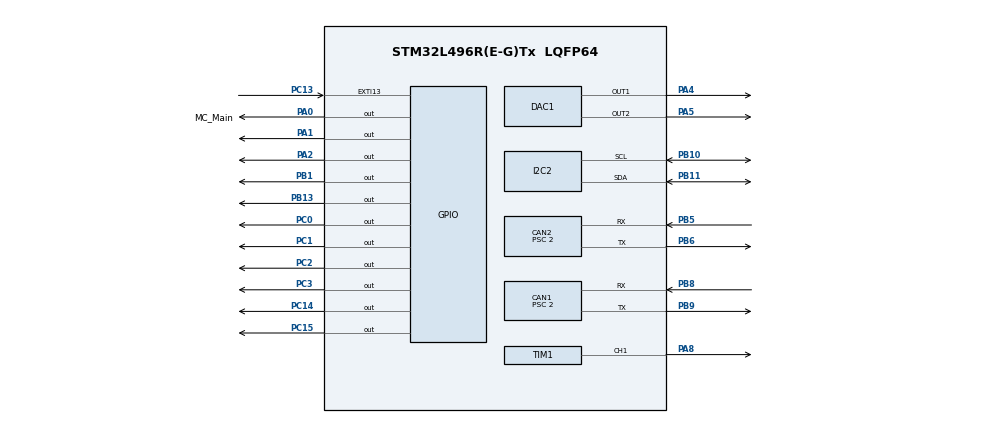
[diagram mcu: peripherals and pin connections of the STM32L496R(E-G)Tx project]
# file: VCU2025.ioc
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CAN1.BS1=CAN_BS1_2TQ
CAN1.CalculateBaudRate=500000
CAN1.CalculateTimeBit=2000
CAN1.CalculateTimeQuantum=500.0
CAN1.Prescaler=2
CAN2.BS1=CAN_BS1_2TQ
CAN2.CalculateBaudRate=500000
CAN2.CalculateTimeBit=2000
CAN2.CalculateTimeQuantum=500.0
CAN2.Prescaler=2
DAC1.DAC_Channel-DAC_OUT2=DAC_CHANNEL_2
FREERTOS.Tasks01=HeartBeat,24,128,Heart_Beat,Default,NULL,Dynamic,NULL,NULL;UpdateThrottle,32,128,Update_Throttle,Default,NULL,Dynamic,NULL,NULL;LightsControl,24,128,Lights_Control,Default,NULL,Dynamic,NULL,NULL;ReadSensors,24,128,Read_Sensors,Default,NULL,Dynamic,NULL,NULL
FREERTOS.configUSE_NEWLIB_REENTRANT=1
I2C2.Timing=0x00100D14
Mcu.Family=STM32L4
Mcu.Name=STM32L496R(E-G)Tx
Mcu.Package=LQFP64
NVIC.CAN1_RX0_IRQn=true\:5\:0\:false\:false\:true\:true\:true\:true\:true
NVIC.CAN2_RX0_IRQn=true\:5\:0\:false\:false\:true\:true\:true\:true\:true
NVIC.EXTI15_10_IRQn=true\:5\:0\:false\:false\:true\:true\:true\:true\:true
NVIC.PriorityGroup=NVIC_PRIORITYGROUP_4
NVIC.TIM6_DAC_IRQn=true\:15\:0\:false\:false\:true\:false\:false\:true\:true
NVIC.TimeBase=TIM6_DAC_IRQn
NVIC.TimeBaseIP=TIM6
PA0.GPIO_Label=MC_Main
PA0.Signal=GPIO_Output
PA1.Signal=GPIO_Output
PA13\ (JTMS/SWDIO).Mode=Serial_Wire
PA13\ (JTMS/SWDIO).Signal=SYS_JTMS-SWDIO
PA14\ (JTCK/SWCLK).Mode=Serial_Wire
PA14\ (JTCK/SWCLK).Signal=SYS_JTCK-SWCLK
PA2.Signal=GPIO_Output
PA4.Signal=COMP_DAC11_group
PA5.Signal=COMP_DAC12_group
PA8.Signal=S_TIM1_CH1
PB1.Signal=GPIO_Output
PB10.Mode=I2C
PB10.Signal=I2C2_SCL
PB11.Mode=I2C
PB11.Signal=I2C2_SDA
PB13.Signal=GPIO_Output
PB5.GPIO_PuPd=GPIO_PULLUP
PB5.Mode=CAN_Activate
PB5.Signal=CAN2_RX
PB6.Mode=CAN_Activate
PB6.Signal=CAN2_TX
PB8.GPIO_PuPd=GPIO_PULLUP
PB8.Mode=CAN_Activate
PB8.Signal=CAN1_RX
PB9.Mode=CAN_Activate
PB9.Signal=CAN1_TX
PC0.Signal=GPIO_Output
PC1.Signal=GPIO_Output
PC13.GPIO_ModeDefaultEXTI=GPIO_MODE_IT_RISING_FALLING
PC13.Signal=GPXTI13
PC14-OSC32_IN\ (PC14).Signal=GPIO_Output
PC15-OSC32_OUT\ (PC15).Signal=GPIO_Output
PC2.Signal=GPIO_Output
PC3.Signal=GPIO_Output
ProjectManager.HeapSize=0x200
ProjectManager.StackSize=0x400
ProjectManager.TargetToolchain=STM32CubeIDE
RCC.HSE_VALUE=8000000
RCC.HSI48_VALUE=48000000
RCC.HSI_VALUE=16000000
RCC.LSE_VALUE=32768
RCC.MSI_VALUE=4000000
RCC.VCOOutputFreq_Value=32000000
SH.COMP_DAC11_group.0=DAC1_OUT1,DAC_OUT1
SH.COMP_DAC12_group.0=DAC1_OUT2,DAC_OUT2
SH.S_TIM1_CH1.0=TIM1_CH1,Output Compare1 CH1
TIM1.Channel-Output\ Compare1\ CH1=TIM_CHANNEL_1
TIM1.Pulse-Output\ Compare1\ CH1=100
VP_FREERTOS_VS_CMSIS_V2.Mode=CMSIS_V2
VP_SYS_VS_tim6.Mode=TIM6
board=custom

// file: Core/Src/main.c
/* USER CODE BEGIN Header */
/**
  ******************************************************************************
  * @file           : main.c
  * @brief          : Main program body
  ******************************************************************************
  * @attention
  *
  * Copyright (c) 2025 STMicroelectronics.
  * All rights reserved.
  *
  * This software is licensed under terms that can be found in the LICENSE file
  * in the root directory of this software component.
  * If no LICENSE file comes with this software, it is provided AS-IS.
  *
  ******************************************************************************
  */
/* USER CODE END Header */
#include "main.h"
#include "cmsis_os.h"

/* USER CODE BEGIN Includes */
#include "stdbool.h"
#include "INA226.h"
/* USER CODE END Includes */

CAN_HandleTypeDef hcan1;
CAN_HandleTypeDef hcan2;

DAC_HandleTypeDef hdac1;

I2C_HandleTypeDef hi2c2;

TIM_HandleTypeDef htim1;

/* Definitions for HeartBeat */
osThreadId_t HeartBeatHandle;
const osThreadAttr_t HeartBeat_attributes = {
  .name = "HeartBeat",
  .stack_size = 128 * 4,
  .priority = (osPriority_t) osPriorityNormal,
};
/* Definitions for UpdateThrottle */
osThreadId_t UpdateThrottleHandle;
const osThreadAttr_t UpdateThrottle_attributes = {
  .name = "UpdateThrottle",
  .stack_size = 128 * 4,
  .priority = (osPriority_t) osPriorityAboveNormal,
};
/* Definitions for LightsControl */
osThreadId_t LightsControlHandle;
const osThreadAttr_t LightsControl_attributes = {
  .name = "LightsControl",
  .stack_size = 128 * 4,
  .priority = (osPriority_t) osPriorityNormal,
};
/* Definitions for ReadSensors */
osThreadId_t ReadSensorsHandle;
const osThreadAttr_t ReadSensors_attributes = {
  .name = "ReadSensors",
  .stack_size = 128 * 4,
  .priority = (osPriority_t) osPriorityNormal,
};

void SystemClock_Config(void);
static void MX_GPIO_Init(void);
static void MX_DAC1_Init(void);
static void MX_CAN1_Init(void);
static void MX_CAN2_Init(void);
static void MX_TIM1_Init(void);
static void MX_I2C2_Init(void);
void Heart_Beat(void *argument);
void Update_Throttle(void *argument);
void Lights_Control(void *argument);
void Read_Sensors(void *argument);

/* USER CODE BEGIN 0 */
//DAC outputs
uint16_t throttle = 0;
uint16_t regen = 0;
uint8_t regen_enable = 0;
uint32_t last_throttle_recieved_tick = 0;
//MC GPIO outputs
bool brakes_active;
bool blinkers_active;
bool left_turn_active;
bool right_turn_active;
bool ignition_switch;

bool direction;
bool mc_main_ctrl;
bool array;
bool old_array;
bool kill_switch;
bool start_array_process = false;
bool array_precharge_contactor_en = false; // port c2
bool array_contactor_en = false; // port c3
uint32_t precharge_start_tick = 0;
bool mc_pwreco_ctrl;

int signal_counter;

GPIO_PinState mc_fwdrev_ctrl;
GPIO_PinState rc_light_en;
GPIO_PinState rr_light_en;
GPIO_PinState rl_light_en;
GPIO_PinState fan_en;
GPIO_PinState horn_en;
GPIO_PinState mppt_contactor_en;
GPIO_PinState mppt_pre_contactor_en;
GPIO_PinState imu_int;

//turn signal and strobe
uint8_t rl_turn;
uint8_t rr_turn;
uint8_t strb_light_en;

//current sensor
uint8_t currentSenseAddress = 0x44;
uint8_t imuAddress = 0x68;
float power;
uint16_t powerInteger;
uint8_t powerLSB;
uint8_t powerMSB;
uint8_t test_once = 1;

//IMU
//uint8_t imuAddress = 0x68;
uint16_t accelInteger;
uint8_t acceLSB;
uint8_t accelMSB;
uint16_t velocityInteger;
uint8_t velocityLSB;
uint8_t velocityMSB;

union FloatBytes {
    float f;
    uint8_t bytes[4];
} floatBytes;

uint8_t datacheck = 0;

int HAL_CAN_BUSY = 0;
uint64_t messages_sent = 0;

CAN_TxHeaderTypeDef TxHeader_status = { 0 };
uint8_t TxData_status[8] = { 0 };
uint32_t TxMailbox_status = { 0 };

uint32_t last_strobe_toggle_tick = 0;
uint8_t strobe = 0;

uint8_t kill_int = 0;

//CAN tranmission with kill_switch
void HAL_GPIO_EXTI_Callback(uint16_t GPIO_PIN)
{
	if (GPIO_PIN == GPIO_PIN_13) {
		//OR current byte 1 to show enable the kill switch
		kill_int = 1;

    }

//		while(!HAL_CAN_GetTxMailboxesFreeLevel(&hcan1));
//		HAL_StatusTypeDef status;
//		status = HAL_CAN_AddTxMessage(&hcan1, &TxHeader_status, TxData_status, &TxMailbox_status);
//		messages_sent++;
//		if (status == HAL_ERROR){
//			Error_Handler();
//		}
//		else if(status == HAL_BUSY){
//			HAL_CAN_BUSY++;
//		}

}

// Can reception
void HAL_CAN_RxFifo0MsgPendingCallback(CAN_HandleTypeDef *hcan1)
{
  uint8_t RxData[8] = { 0 };  // Array to store the received data
  CAN_RxHeaderTypeDef RxHeader;
  if (HAL_CAN_GetRxMessage(hcan1, CAN_RX_FIFO0, &RxHeader, RxData) != HAL_OK)
  {
    Error_Handler();
  }
  if (RxHeader.StdId == 0x000 && RxHeader.IDE == CAN_ID_STD)
  {
	  if (RxData[0] == 0) {
      last_throttle_recieved_tick = HAL_GetTick();
		  throttle = (uint16_t)RxData[2]<<8 | RxData[1];
	  }
  }

  if (RxHeader.StdId == 0x06 && RxHeader.IDE == CAN_ID_STD) {
	  if (RxData[0] != 0) {
		  kill_switch = true;
		  strobe = 1;
		  if (!test_once) {
			  last_strobe_toggle_tick = HAL_GetTick();
			  HAL_GPIO_WritePin(GPIOC, GPIO_PIN_15, SET);
			  test_once = true;
		  }
	  }
  }
  if (RxHeader.StdId == 0x7FF && RxHeader.IDE == CAN_ID_STD) {
	  if(RxData[0] == 1){
		  //byte 1
		  //ignition switch
		  if((RxData[1] & 0x01) != 0x00){
			  ignition_switch = true;
		  }
		  else{
			  ignition_switch = false;
		  }

		  if((RxData[1] & 0x02) != 0x00){
			  brakes_active = true; // turn brakes on
		  }else{
			  brakes_active = false; // turn breaks off
		  }

		  if((RxData[1] & 0x20) != 0x00){
			  direction = true; //Forward
		  }else{
			  direction = false; // Reverse
		  }

		  if((RxData[1] & 0x10) != 0x00){
			  mc_main_ctrl = true;
		  }else{
			  mc_main_ctrl = false;
		  }

		  if((RxData[1] & 0x04) != 0x00){
			  array = true;
        if (array != old_array) {
          start_array_process = true;
        }
		  }else{
			  array = false;
        if (array != old_array) {
          start_array_process = true;
        }
		  }
      old_array = array;

		  //byte #2
		  if((RxData[2] & 0x01) != 0x00){
			  if (blinkers_active != true) {
				  blinkers_active = true;
				  signal_counter = 0;
			  }
			  blinkers_active = true; // turn brakes on

		  }else{
			  blinkers_active = false;
		  }

		  if((RxData[2] & 0x02) != 0x00){
			  if (left_turn_active != true) {
				  left_turn_active = true;
				  signal_counter = 0;
			  }
			  left_turn_active = true; // turn brakes on

		  }else{
			  left_turn_active = false; // turn brakes off
		  }

		  if((RxData[2] & 0x04) != 0x00){
			  if(right_turn_active != true){
				  right_turn_active = true; // Turn on right
				  left_turn_active = false; //Turn off left
				  signal_counter = 0;
			  }
			  right_turn_active = true;
		  }else{
			  right_turn_active = false;
		  }

      if((RxData[2] & 0x10) != 0x00){
        regen_enable = 1;
      }
      else{
        regen_enable = 0;
      }

	  }
  }
}

INA226_t INA226_IVP;

/* USER CODE END 0 */

int main(void)
{

  /* USER CODE BEGIN 1 */

  brakes_active = false;
  blinkers_active = false;
  left_turn_active = false;
  right_turn_active = true;

  direction = false;
  mc_pwreco_ctrl = false;
  mc_main_ctrl = false;
  array = false;

  /* USER CODE END 1 */

  /* MCU Configuration--------------------------------------------------------*/

  /* Reset of all peripherals, Initializes the Flash interface and the Systick. */
  HAL_Init();

  /* Configure the system clock */
  SystemClock_Config();

  /* Initialize all configured peripherals */
  MX_GPIO_Init();
  MX_DAC1_Init();
  MX_CAN1_Init();
  MX_CAN2_Init();
  MX_TIM1_Init();
  MX_I2C2_Init();
  /* USER CODE BEGIN 2 */
  HAL_CAN_Start(&hcan1);

  //intalize can RX interupt
  if (HAL_CAN_ActivateNotification(&hcan1, CAN_IT_RX_FIFO0_MSG_PENDING) != HAL_OK)
  {
	  Error_Handler();
  }

  TxHeader_status.IDE = CAN_ID_STD; // Standard ID (not extended)
  TxHeader_status.StdId = 0x02; // 11 bit Identifier
  TxData_status[0] = 0x02; // 0x02 is the ID for the status message
  TxHeader_status.RTR = CAN_RTR_DATA; // Std RTR Data frame
  TxHeader_status.DLC = 8; // 8 bytes being transmitted

  if(INA226_Initialize(&INA226_IVP, &hi2c2, 10, 20) != HAL_OK){ Error_Handler();}
  HAL_GPIO_WritePin(GPIOC, GPIO_PIN_2, RESET);
  HAL_GPIO_WritePin(GPIOC, GPIO_PIN_3, RESET);

  if (HAL_GPIO_ReadPin(GPIOC, GPIO_PIN_13) == GPIO_PIN_RESET) {
    kill_switch = true;
    strobe = 1;
    last_strobe_toggle_tick = HAL_GetTick();
    HAL_GPIO_WritePin(GPIOC, GPIO_PIN_15, SET); // Turn on kill switch LED
  }
  else {
    kill_switch = false;
    strobe = false;
    HAL_GPIO_WritePin(GPIOC, GPIO_PIN_15, RESET); // Turn off kill switch LED
  }

  /* USER CODE END 2 */

  /* Init scheduler */
  osKernelInitialize();

  /* Create the thread(s) */
  /* creation of HeartBeat */
  HeartBeatHandle = osThreadNew(Heart_Beat, NULL, &HeartBeat_attributes);

  /* creation of UpdateThrottle */
  UpdateThrottleHandle = osThreadNew(Update_Throttle, NULL, &UpdateThrottle_attributes);

  /* creation of LightsControl */
  LightsControlHandle = osThreadNew(Lights_Control, NULL, &LightsControl_attributes);

  /* creation of ReadSensors */
  ReadSensorsHandle = osThreadNew(Read_Sensors, NULL, &ReadSensors_attributes);

  /* Start scheduler */
  osKernelStart();

  /* We should never get here as control is now taken by the scheduler */

  /* Infinite loop */
  while (1)
  {

  }
}

void SystemClock_Config(void)
{
  RCC_OscInitTypeDef RCC_OscInitStruct = {0};
  RCC_ClkInitTypeDef RCC_ClkInitStruct = {0};

  /** Configure the main internal regulator output voltage
  */
  if (HAL_PWREx_ControlVoltageScaling(PWR_REGULATOR_VOLTAGE_SCALE1) != HAL_OK)
  {
    Error_Handler();
  }

  /** Initializes the RCC Oscillators according to the specified parameters
  * in the RCC_OscInitTypeDef structure.
  */
  RCC_OscInitStruct.OscillatorType = RCC_OSCILLATORTYPE_MSI;
  RCC_OscInitStruct.MSIState = RCC_MSI_ON;
  RCC_OscInitStruct.MSICalibrationValue = 0;
  RCC_OscInitStruct.MSIClockRange = RCC_MSIRANGE_6;
  RCC_OscInitStruct.PLL.PLLState = RCC_PLL_NONE;
  if (HAL_RCC_OscConfig(&RCC_OscInitStruct) != HAL_OK)
  {
    Error_Handler();
  }

  /** Initializes the CPU, AHB and APB buses clocks
  */
  RCC_ClkInitStruct.ClockType = RCC_CLOCKTYPE_HCLK|RCC_CLOCKTYPE_SYSCLK
                              |RCC_CLOCKTYPE_PCLK1|RCC_CLOCKTYPE_PCLK2;
  RCC_ClkInitStruct.SYSCLKSource = RCC_SYSCLKSOURCE_MSI;
  RCC_ClkInitStruct.AHBCLKDivider = RCC_SYSCLK_DIV1;
  RCC_ClkInitStruct.APB1CLKDivider = RCC_HCLK_DIV1;
  RCC_ClkInitStruct.APB2CLKDivider = RCC_HCLK_DIV1;

  if (HAL_RCC_ClockConfig(&RCC_ClkInitStruct, FLASH_LATENCY_0) != HAL_OK)
  {
    Error_Handler();
  }
}

static void MX_CAN1_Init(void)
{

  hcan1.Instance = CAN1;
  hcan1.Init.Prescaler = 2;
  hcan1.Init.Mode = CAN_MODE_NORMAL;
  hcan1.Init.SyncJumpWidth = CAN_SJW_1TQ;
  hcan1.Init.TimeSeg1 = CAN_BS1_2TQ;
  hcan1.Init.TimeSeg2 = CAN_BS2_1TQ;
  hcan1.Init.TimeTriggeredMode = DISABLE;
  hcan1.Init.AutoBusOff = DISABLE;
  hcan1.Init.AutoWakeUp = DISABLE;
  hcan1.Init.AutoRetransmission = DISABLE;
  hcan1.Init.ReceiveFifoLocked = DISABLE;
  hcan1.Init.TransmitFifoPriority = DISABLE;
  if (HAL_CAN_Init(&hcan1) != HAL_OK)
  {
    Error_Handler();
  }
  /* USER CODE BEGIN CAN1_Init 2 */
  CAN_FilterTypeDef canfilterconfig;

	canfilterconfig.FilterActivation = CAN_FILTER_ENABLE;
	canfilterconfig.FilterBank = 18;  // which filter bank to use from the assigned ones
	canfilterconfig.FilterFIFOAssignment = CAN_FILTER_FIFO0;
	canfilterconfig.FilterIdHigh = 0x000<<5;
	canfilterconfig.FilterIdLow = 0;
	canfilterconfig.FilterMaskIdHigh = 0x000<<5;
	canfilterconfig.FilterMaskIdLow = 0x0000;
	canfilterconfig.FilterMode = CAN_FILTERMODE_IDMASK;
	canfilterconfig.FilterScale = CAN_FILTERSCALE_32BIT;
	canfilterconfig.SlaveStartFilterBank = 20;  // how many filters to assign to the CAN1 (master can)

	HAL_CAN_ConfigFilter(&hcan1, &canfilterconfig);
  /* USER CODE END CAN1_Init 2 */

}

static void MX_CAN2_Init(void)
{

  hcan2.Instance = CAN2;
  hcan2.Init.Prescaler = 2;
  hcan2.Init.Mode = CAN_MODE_NORMAL;
  hcan2.Init.SyncJumpWidth = CAN_SJW_1TQ;
  hcan2.Init.TimeSeg1 = CAN_BS1_2TQ;
  hcan2.Init.TimeSeg2 = CAN_BS2_1TQ;
  hcan2.Init.TimeTriggeredMode = DISABLE;
  hcan2.Init.AutoBusOff = DISABLE;
  hcan2.Init.AutoWakeUp = DISABLE;
  hcan2.Init.AutoRetransmission = DISABLE;
  hcan2.Init.ReceiveFifoLocked = DISABLE;
  hcan2.Init.TransmitFifoPriority = DISABLE;
  if (HAL_CAN_Init(&hcan2) != HAL_OK)
  {
    Error_Handler();
  }

}

static void MX_DAC1_Init(void)
{

  DAC_ChannelConfTypeDef sConfig = {0};

  /** DAC Initialization
  */
  hdac1.Instance = DAC1;
  if (HAL_DAC_Init(&hdac1) != HAL_OK)
  {
    Error_Handler();
  }

  /** DAC channel OUT1 config
  */
  sConfig.DAC_SampleAndHold = DAC_SAMPLEANDHOLD_DISABLE;
  sConfig.DAC_Trigger = DAC_TRIGGER_NONE;
  sConfig.DAC_OutputBuffer = DAC_OUTPUTBUFFER_ENABLE;
  sConfig.DAC_ConnectOnChipPeripheral = DAC_CHIPCONNECT_DISABLE;
  sConfig.DAC_UserTrimming = DAC_TRIMMING_FACTORY;
  if (HAL_DAC_ConfigChannel(&hdac1, &sConfig, DAC_CHANNEL_1) != HAL_OK)
  {
    Error_Handler();
  }

  /** DAC channel OUT2 config
  */
  if (HAL_DAC_ConfigChannel(&hdac1, &sConfig, DAC_CHANNEL_2) != HAL_OK)
  {
    Error_Handler();
  }

}

static void MX_I2C2_Init(void)
{

  hi2c2.Instance = I2C2;
  hi2c2.Init.Timing = 0x00100D14;
  hi2c2.Init.OwnAddress1 = 0;
  hi2c2.Init.AddressingMode = I2C_ADDRESSINGMODE_7BIT;
  hi2c2.Init.DualAddressMode = I2C_DUALADDRESS_DISABLE;
  hi2c2.Init.OwnAddress2 = 0;
  hi2c2.Init.OwnAddress2Masks = I2C_OA2_NOMASK;
  hi2c2.Init.GeneralCallMode = I2C_GENERALCALL_DISABLE;
  hi2c2.Init.NoStretchMode = I2C_NOSTRETCH_DISABLE;
  if (HAL_I2C_Init(&hi2c2) != HAL_OK)
  {
    Error_Handler();
  }

  /** Configure Analogue filter
  */
  if (HAL_I2CEx_ConfigAnalogFilter(&hi2c2, I2C_ANALOGFILTER_ENABLE) != HAL_OK)
  {
    Error_Handler();
  }

  /** Configure Digital filter
  */
  if (HAL_I2CEx_ConfigDigitalFilter(&hi2c2, 0) != HAL_OK)
  {
    Error_Handler();
  }

}

static void MX_TIM1_Init(void)
{

  TIM_MasterConfigTypeDef sMasterConfig = {0};
  TIM_OC_InitTypeDef sConfigOC = {0};
  TIM_BreakDeadTimeConfigTypeDef sBreakDeadTimeConfig = {0};

  htim1.Instance = TIM1;
  htim1.Init.Prescaler = 0;
  htim1.Init.CounterMode = TIM_COUNTERMODE_UP;
  htim1.Init.Period = 65535;
  htim1.Init.ClockDivision = TIM_CLOCKDIVISION_DIV1;
  htim1.Init.RepetitionCounter = 0;
  htim1.Init.AutoReloadPreload = TIM_AUTORELOAD_PRELOAD_DISABLE;
  if (HAL_TIM_OC_Init(&htim1) != HAL_OK)
  {
    Error_Handler();
  }
  sMasterConfig.MasterOutputTrigger = TIM_TRGO_RESET;
  sMasterConfig.MasterOutputTrigger2 = TIM_TRGO2_RESET;
  sMasterConfig.MasterSlaveMode = TIM_MASTERSLAVEMODE_DISABLE;
  if (HAL_TIMEx_MasterConfigSynchronization(&htim1, &sMasterConfig) != HAL_OK)
  {
    Error_Handler();
  }
  sConfigOC.OCMode = TIM_OCMODE_TIMING;
  sConfigOC.Pulse = 100;
  sConfigOC.OCPolarity = TIM_OCPOLARITY_HIGH;
  sConfigOC.OCNPolarity = TIM_OCNPOLARITY_HIGH;
  sConfigOC.OCFastMode = TIM_OCFAST_DISABLE;
  sConfigOC.OCIdleState = TIM_OCIDLESTATE_RESET;
  sConfigOC.OCNIdleState = TIM_OCNIDLESTATE_RESET;
  if (HAL_TIM_OC_ConfigChannel(&htim1, &sConfigOC, TIM_CHANNEL_1) != HAL_OK)
  {
    Error_Handler();
  }
  sBreakDeadTimeConfig.OffStateRunMode = TIM_OSSR_DISABLE;
  sBreakDeadTimeConfig.OffStateIDLEMode = TIM_OSSI_DISABLE;
  sBreakDeadTimeConfig.LockLevel = TIM_LOCKLEVEL_OFF;
  sBreakDeadTimeConfig.DeadTime = 0;
  sBreakDeadTimeConfig.BreakState = TIM_BREAK_DISABLE;
  sBreakDeadTimeConfig.BreakPolarity = TIM_BREAKPOLARITY_HIGH;
  sBreakDeadTimeConfig.BreakFilter = 0;
  sBreakDeadTimeConfig.Break2State = TIM_BREAK2_DISABLE;
  sBreakDeadTimeConfig.Break2Polarity = TIM_BREAK2POLARITY_HIGH;
  sBreakDeadTimeConfig.Break2Filter = 0;
  sBreakDeadTimeConfig.AutomaticOutput = TIM_AUTOMATICOUTPUT_DISABLE;
  if (HAL_TIMEx_ConfigBreakDeadTime(&htim1, &sBreakDeadTimeConfig) != HAL_OK)
  {
    Error_Handler();
  }
  HAL_TIM_MspPostInit(&htim1);

}

static void MX_GPIO_Init(void)
{
  GPIO_InitTypeDef GPIO_InitStruct = {0};

  /* GPIO Ports Clock Enable */
  __HAL_RCC_GPIOC_CLK_ENABLE();
  __HAL_RCC_GPIOA_CLK_ENABLE();
  __HAL_RCC_GPIOB_CLK_ENABLE();

  /*Configure GPIO pin Output Level */
  HAL_GPIO_WritePin(GPIOC, GPIO_PIN_14|GPIO_PIN_15|GPIO_PIN_0|GPIO_PIN_1
                          |GPIO_PIN_2|GPIO_PIN_3, GPIO_PIN_RESET);

  /*Configure GPIO pin Output Level */
  HAL_GPIO_WritePin(GPIOA, MC_Main_Pin|GPIO_PIN_1|GPIO_PIN_2, GPIO_PIN_RESET);

  /*Configure GPIO pin Output Level */
  HAL_GPIO_WritePin(GPIOB, GPIO_PIN_1|GPIO_PIN_13, GPIO_PIN_RESET);

  /*Configure GPIO pin : PC13 */
  GPIO_InitStruct.Pin = GPIO_PIN_13;
  GPIO_InitStruct.Mode = GPIO_MODE_IT_FALLING;
  GPIO_InitStruct.Mode = GPIO_MODE_IT_FALLING;
  GPIO_InitStruct.Pull = GPIO_NOPULL;
  HAL_GPIO_Init(GPIOC, &GPIO_InitStruct);

  /*Configure GPIO pins : PC14 PC15 PC0 PC1
                           PC2 PC3 */
  GPIO_InitStruct.Pin = GPIO_PIN_14|GPIO_PIN_15|GPIO_PIN_0|GPIO_PIN_1
                          |GPIO_PIN_2|GPIO_PIN_3;
  GPIO_InitStruct.Mode = GPIO_MODE_OUTPUT_PP;
  GPIO_InitStruct.Pull = GPIO_NOPULL;
  GPIO_InitStruct.Speed = GPIO_SPEED_FREQ_LOW;
  HAL_GPIO_Init(GPIOC, &GPIO_InitStruct);

  /*Configure GPIO pins : MC_Main_Pin PA1 PA2 */
  GPIO_InitStruct.Pin = MC_Main_Pin|GPIO_PIN_1|GPIO_PIN_2;
  GPIO_InitStruct.Mode = GPIO_MODE_OUTPUT_PP;
  GPIO_InitStruct.Pull = GPIO_NOPULL;
  GPIO_InitStruct.Speed = GPIO_SPEED_FREQ_LOW;
  HAL_GPIO_Init(GPIOA, &GPIO_InitStruct);

  /*Configure GPIO pins : PB1 PB13 */
  GPIO_InitStruct.Pin = GPIO_PIN_1|GPIO_PIN_13;
  GPIO_InitStruct.Mode = GPIO_MODE_OUTPUT_PP;
  GPIO_InitStruct.Pull = GPIO_NOPULL;
  GPIO_InitStruct.Speed = GPIO_SPEED_FREQ_LOW;
  HAL_GPIO_Init(GPIOB, &GPIO_InitStruct);

  /* EXTI interrupt init*/
  HAL_NVIC_SetPriority(EXTI15_10_IRQn, 5, 0);
  HAL_NVIC_EnableIRQ(EXTI15_10_IRQn);

  /* USER CODE BEGIN MX_GPIO_Init_2 */
  HAL_GPIO_WritePin(GPIOC, GPIO_PIN_0, SET);

  HAL_GPIO_WritePin(GPIOB, GPIO_PIN_3, SET);
  HAL_GPIO_WritePin(GPIOB, GPIO_PIN_4, SET);

  /* USER CODE END MX_GPIO_Init_2 */
}

/* USER CODE BEGIN 4 */
// GPIO Expander Interrupt Handler
/*void HAL_GPIO_EXTI_Callback(uint16_t GPIO_Pin)
{
	if(GPIO_Pin == GPIO_PIN_13){
		HAL_GPIO_WritePin(GPIOC, GPIO_Pin, GPIO_PIN_RESET);
	}
}
*/
/* USER CODE END 4 */

void Heart_Beat(void *argument)
{
  /* USER CODE BEGIN 5 */
	bool once = false;

  /* Infinite loop */
  for(;;)
  {
	  if(kill_int){
		  if (HAL_GPIO_ReadPin(GPIOC, GPIO_PIN_13) == GPIO_PIN_RESET) {
				  kill_switch = true;
				  TxData_status[1] |= (1 << 5); // Bit 5 = Kill switch enabled

				  strobe = 1;
				  if (!once) {
					  HAL_GPIO_WritePin(GPIOC, GPIO_PIN_15, SET); // Turn on kill switch LED
					  last_strobe_toggle_tick = HAL_GetTick();
					  once = true;
				  }
		  } else {
			  kill_int = 0;
		  }
	  }
	HAL_GPIO_TogglePin(GPIOB, GPIO_PIN_13);
    osDelay(500);
  }

  /* USER CODE END 5 */
}

void Update_Throttle(void *argument)
{
  /* USER CODE BEGIN Update_Throttle */

  HAL_DAC_Start(&hdac1,DAC_CHANNEL_1); //Start DAC 1 and 2
  HAL_DAC_Start(&hdac1,DAC_CHANNEL_2);

  /* Infinite loop */
  for(;;)
  {
    if (HAL_GetTick() - last_throttle_recieved_tick > 300) {
      throttle = 0; // Set throttle to 0 if no message received for .3 second
    }

    if (throttle > 0) {
    	volatile int testing = 1000;
    	testing++;
    }

    if (kill_switch || HAL_GPIO_ReadPin(GPIOC, GPIO_PIN_13) == GPIO_PIN_RESET) {
      HAL_DAC_SetValue(&hdac1, DAC_CHANNEL_2, DAC_ALIGN_12B_R, 0); // Set throttle to 0 if kill switch is on
    }
    else {
	    HAL_DAC_SetValue(&hdac1, DAC_CHANNEL_2, DAC_ALIGN_12B_R, throttle);
    }

    if (regen_enable && throttle == 0) {
      regen = 2500; // also try 2048
    } else {
      regen = 0;
    }
	  HAL_DAC_SetValue(&hdac1, DAC_CHANNEL_1, DAC_ALIGN_12B_R, regen);

	  //updates gpio pins with states from global variables

	  //change for bistable relay
	  //gonna have to think about this section

    // i think these are active low (at least this top one is most likely, so im assuming the next one is too)
	  if(mc_main_ctrl){
		  HAL_GPIO_WritePin(GPIOA, GPIO_PIN_0, GPIO_PIN_RESET);
	  }else{
		  HAL_GPIO_WritePin(GPIOA, GPIO_PIN_0, GPIO_PIN_SET);
	  }

//	  if(mc_pwreco_ctrl){
//		  //closed power
//		  HAL_GPIO_WritePin(GPIOA, GPIO_PIN_1, GPIO_PIN_RESET);
//	  }else{
//		  //open eco
//		  HAL_GPIO_WritePin(GPIOA, GPIO_PIN_1, GPIO_PIN_SET);
//	  }

	  if(direction == true){
		  //closed forward
		  HAL_GPIO_WritePin(GPIOA, GPIO_PIN_1, RESET);
	  }else{
		  //open backward
		  HAL_GPIO_WritePin(GPIOA, GPIO_PIN_1, SET);
	  }

    // enable precharger for 250ms before enabling array contactor
    if (array && start_array_process && precharge_start_tick == 0) {
        array_precharge_contactor_en = true;
        HAL_GPIO_WritePin(GPIOC, GPIO_PIN_2, SET); // enable precharge contactor
        precharge_start_tick = HAL_GetTick();
    }
    if (precharge_start_tick && (HAL_GetTick() - precharge_start_tick > 250)) {
        HAL_GPIO_WritePin(GPIOC, GPIO_PIN_3, SET); // enable array contactor
        HAL_GPIO_WritePin(GPIOC, GPIO_PIN_2, RESET); // disable precharge contactor
        start_array_process = false;
        precharge_start_tick = 0;
    }

    if (!array && start_array_process) {
        array_precharge_contactor_en = false;
        HAL_GPIO_WritePin(GPIOC, GPIO_PIN_2, RESET); // disable precharge contactor
        HAL_GPIO_WritePin(GPIOC, GPIO_PIN_3, RESET); // disable array contactor
        start_array_process = false;
    }

	  osDelay(20);
  }
  /* USER CODE END Update_Throttle */
}

void Lights_Control(void *argument)
{
  /* USER CODE BEGIN Lights_Control */
  //left_turn_active = true;

  bool toggle_state = false;
  uint32_t last_toggle_tick = 0;

  /* Infinite loop */
  for(;;)
  {
    /*
	  if (blinkers_active) {
		  if (signal_counter < 5) {
        // rear left light
			  HAL_GPIO_WritePin(GPIOC, GPIO_PIN_14, RESET);
        // rear right light
			  HAL_GPIO_WritePin(GPIOC, GPIO_PIN_1, RESET);
		  }
		  else {
			  HAL_GPIO_WritePin(GPIOC, GPIO_PIN_14, SET);
			  HAL_GPIO_WritePin(GPIOC, GPIO_PIN_1, SET);
		  }
		  signal_counter++;
		  signal_counter = signal_counter%10;
		  osDelay(100);
		  continue;
	  }

	  if(left_turn_active){
		  if(signal_counter < 5){
			  HAL_GPIO_WritePin(GPIOC, GPIO_PIN_14, RESET);
		  }else{
			  HAL_GPIO_WritePin(GPIOC, GPIO_PIN_14, SET);
		  }
		  signal_counter++;

	  }else{
		  if(brakes_active){
			  HAL_GPIO_WritePin(GPIOC, GPIO_PIN_14, SET);
		  }
		  else{
			  HAL_GPIO_WritePin(GPIOC, GPIO_PIN_14, RESET);
		  }
	  }

	  if(right_turn_active){
		  if(signal_counter < 5){
			  HAL_GPIO_WritePin(GPIOC, GPIO_PIN_1, RESET);
		  }else{
			  HAL_GPIO_WritePin(GPIOC, GPIO_PIN_1, SET);
		  }
		  signal_counter++;
	  }
	  else{
		  if(brakes_active){
			  HAL_GPIO_WritePin(GPIOC, GPIO_PIN_1, SET);
		  }
		  else{
			  HAL_GPIO_WritePin(GPIOC, GPIO_PIN_1, RESET);
		  }
	  }

	  if(brakes_active){
		  HAL_GPIO_WritePin(GPIOC, GPIO_PIN_0, SET); //sets center rear light (brake light)
	  }else{
		  HAL_GPIO_WritePin(GPIOC, GPIO_PIN_0, RESET);
	  }
	  signal_counter = signal_counter%10;
	  osDelay(100);
    */

    // vars = left_turn_active, right_turn_active, brakes_active,blinkers_active
    // toggle_state, last_toggle_tick

    if (HAL_GetTick() - last_toggle_tick > 500) {
      last_toggle_tick = HAL_GetTick();
      toggle_state = !toggle_state;
    }

    // control left light == GPIOC, GPIO_PIN_14
    if (left_turn_active || blinkers_active) {
      HAL_GPIO_WritePin(GPIOC, GPIO_PIN_14, toggle_state ? SET : RESET);
    } else if (brakes_active){
      HAL_GPIO_WritePin(GPIOC, GPIO_PIN_14, SET);
    } else {
      HAL_GPIO_WritePin(GPIOC, GPIO_PIN_14, RESET);
    }

    // control right light == GPIOC, GPIO_PIN_1
    if (right_turn_active || blinkers_active) {
      HAL_GPIO_WritePin(GPIOC, GPIO_PIN_1, toggle_state ? SET : RESET);
    } else if (brakes_active){
      HAL_GPIO_WritePin(GPIOC, GPIO_PIN_1, SET);
    } else {
      HAL_GPIO_WritePin(GPIOC, GPIO_PIN_1, RESET);
    }

    // control center light == GPIOC, GPIO_PIN_0
    if (brakes_active) {
      HAL_GPIO_WritePin(GPIOC, GPIO_PIN_0, SET);
    } else {
      HAL_GPIO_WritePin(GPIOC, GPIO_PIN_0, RESET);
    }

    osDelay(100);
  }
  /* USER CODE END Lights_Control */
}

void Read_Sensors(void *argument)
{
  /* USER CODE BEGIN Read_Sensors */

	TxHeader_status.IDE = CAN_ID_STD; // Standard ID (not extended)
	TxHeader_status.StdId = 0x07; // 11 bit Identifier
	TxHeader_status.RTR = CAN_RTR_DATA; // Std RTR Data frame
	TxHeader_status.DLC = 8; // 8 bytes being transmitted

	//Message ID 2 for VCU
	TxData_status[0] = 7;

	// HAL_CAN_AddTxMessage(&hcan1, &TxHeader, TxData, &TxMailbox);

  /* Infinite loop */
  for(;;)
  {

    if (strobe && HAL_GetTick() - last_strobe_toggle_tick > 500) {
      last_strobe_toggle_tick = HAL_GetTick();
      HAL_GPIO_TogglePin(GPIOC, GPIO_PIN_15); // Toggle strobe LED
    }

	  //INA226_t *data = (INA226_t *)argument;
	  INA226_IVP.current = getCurrentAmp(&INA226_IVP);
	  INA226_IVP.power = getPowerWatt(&INA226_IVP);

    union FloatBytes power;
    power.f = INA226_IVP.power;

	  //Assign CAN message
	  TxData_status[2] = power.bytes[0]; //LSB
	  TxData_status[3] = power.bytes[1];
	  TxData_status[4] = power.bytes[2];
	  TxData_status[5] = power.bytes[3]; //MSB
/*
	  while(!HAL_CAN_GetTxMailboxesFreeLevel(&hcan1));
	  HAL_StatusTypeDef status;
	  status = HAL_CAN_AddTxMessage(&hcan1, &TxHeader, TxData, &TxMailbox);
	  messages_sent++;
	  if (status == HAL_ERROR){
		  Error_Handler();
	  }
	  else if(status == HAL_BUSY){
		  HAL_CAN_BUSY++;
	  }
*/

    // also send status message
    TxData_status[1] = 0; // Reset status byte
    // for byte 1, bit 0 = mc, bit 1 = array, bit 2 = kill switch
    if (mc_main_ctrl)
        TxData_status[1] |= (1 << 0); // Bit 0 = MC status
    if (array)
        TxData_status[1] |= (1 << 2); // Bit 2 = array status
    if (direction)
        TxData_status[1] |= (1 << 3); // Bit 3 = Direction status
    if(kill_switch)
    	TxData_status[1] |= (1 << 4); // Bit 4 = Kill switch status

    while(!HAL_CAN_GetTxMailboxesFreeLevel(&hcan1));
    HAL_StatusTypeDef status2;
    status2 = HAL_CAN_AddTxMessage(&hcan1, &TxHeader_status, TxData_status, &TxMailbox_status);
    messages_sent++;
    if (status2 == HAL_ERROR){
        Error_Handler();
    }
    else if(status2 == HAL_BUSY){
        HAL_CAN_BUSY++;
    }

    osDelay(10);
  }
  /* USER CODE END Read_Sensors */
}

void HAL_TIM_PeriodElapsedCallback(TIM_HandleTypeDef *htim)
{
  if (htim->Instance == TIM6)
  {
    HAL_IncTick();
  }
}

void Error_Handler(void)
{
  /* USER CODE BEGIN Error_Handler_Debug */
  /* User can add his own implementation to report the HAL error return state */
  __disable_irq();

  HAL_DAC_SetValue(&hdac1, DAC_CHANNEL_2, DAC_ALIGN_12B_R, 0); // Set throttle to 0 if kill switch is on
  HAL_GPIO_WritePin(GPIOA, GPIO_PIN_0, GPIO_PIN_SET); // should turn off mc

  while (1)
  {
  }
  /* USER CODE END Error_Handler_Debug */
}
